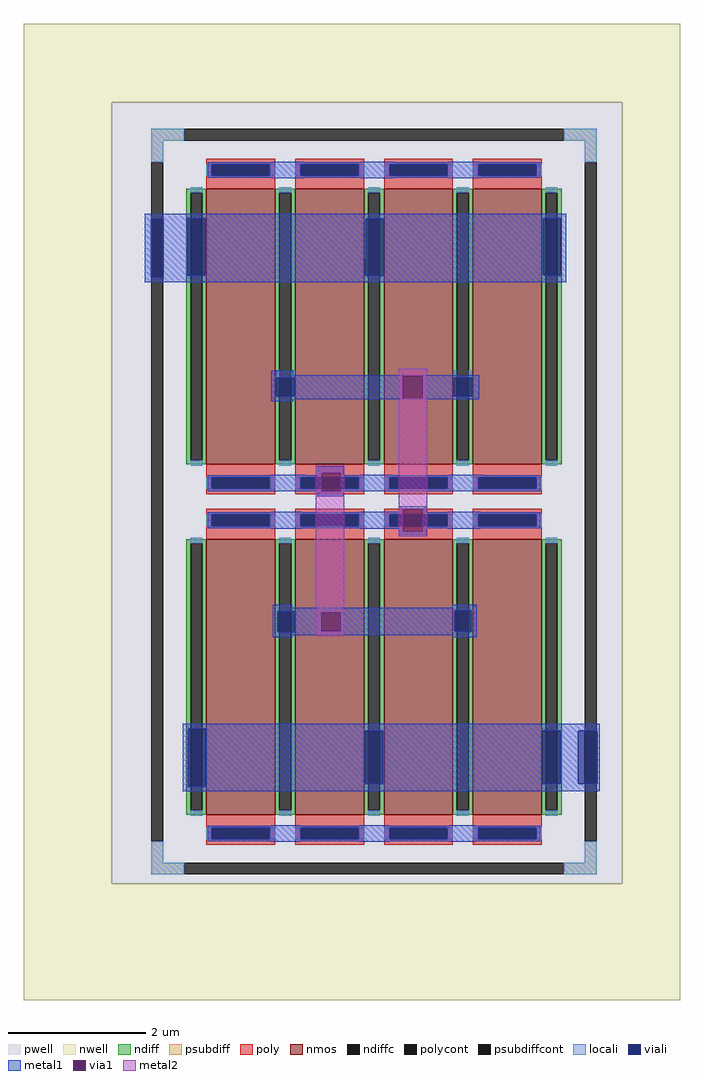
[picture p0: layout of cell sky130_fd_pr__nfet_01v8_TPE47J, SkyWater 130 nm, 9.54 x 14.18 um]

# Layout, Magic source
magic
tech sky130A
magscale 1 2
<< nwell >>
rect -1018 1160 890 1388
rect -1018 -1110 -762 1160
rect 722 -1110 890 1160
rect -1018 -1448 890 -1110
<< pwell >>
rect -762 -1110 722 1160
<< nmos >>
rect -487 109 -287 909
rect -229 109 -29 909
rect 29 109 229 909
rect 287 109 487 909
rect -487 -909 -287 -109
rect -229 -909 -29 -109
rect 29 -909 229 -109
rect 287 -909 487 -109
<< ndiff >>
rect -545 897 -487 909
rect -545 121 -533 897
rect -499 121 -487 897
rect -545 109 -487 121
rect -287 897 -229 909
rect -287 121 -275 897
rect -241 121 -229 897
rect -287 109 -229 121
rect -29 897 29 909
rect -29 121 -17 897
rect 17 121 29 897
rect -29 109 29 121
rect 229 897 287 909
rect 229 121 241 897
rect 275 121 287 897
rect 229 109 287 121
rect 487 897 545 909
rect 487 121 499 897
rect 533 121 545 897
rect 487 109 545 121
rect -545 -121 -487 -109
rect -545 -897 -533 -121
rect -499 -897 -487 -121
rect -545 -909 -487 -897
rect -287 -121 -229 -109
rect -287 -897 -275 -121
rect -241 -897 -229 -121
rect -287 -909 -229 -897
rect -29 -121 29 -109
rect -29 -897 -17 -121
rect 17 -897 29 -121
rect -29 -909 29 -897
rect 229 -121 287 -109
rect 229 -897 241 -121
rect 275 -897 287 -121
rect 229 -909 287 -897
rect 487 -121 545 -109
rect 487 -897 499 -121
rect 533 -897 545 -121
rect 487 -909 545 -897
<< ndiffc >>
rect -533 121 -499 897
rect -275 121 -241 897
rect -17 121 17 897
rect 241 121 275 897
rect 499 121 533 897
rect -533 -897 -499 -121
rect -275 -897 -241 -121
rect -17 -897 17 -121
rect 241 -897 275 -121
rect 499 -897 533 -121
<< psubdiff >>
rect -647 1049 -551 1083
rect 551 1049 647 1083
rect -647 987 -613 1049
rect 613 987 647 1049
rect -647 -1049 -613 -987
rect 613 -1049 647 -987
rect -647 -1083 -551 -1049
rect 551 -1083 647 -1049
<< psubdiffcont >>
rect -551 1049 551 1083
rect -647 -987 -613 987
rect 613 -987 647 987
rect -551 -1083 551 -1049
<< poly >>
rect -487 981 -287 997
rect -487 947 -471 981
rect -303 947 -287 981
rect -487 909 -287 947
rect -229 981 -29 997
rect -229 947 -213 981
rect -45 947 -29 981
rect -229 909 -29 947
rect 29 981 229 997
rect 29 947 45 981
rect 213 947 229 981
rect 29 909 229 947
rect 287 981 487 997
rect 287 947 303 981
rect 471 947 487 981
rect 287 909 487 947
rect -487 71 -287 109
rect -487 37 -471 71
rect -303 37 -287 71
rect -487 21 -287 37
rect -229 71 -29 109
rect -229 37 -213 71
rect -45 37 -29 71
rect -229 21 -29 37
rect 29 71 229 109
rect 29 37 45 71
rect 213 37 229 71
rect 29 21 229 37
rect 287 71 487 109
rect 287 37 303 71
rect 471 37 487 71
rect 287 21 487 37
rect -487 -37 -287 -21
rect -487 -71 -471 -37
rect -303 -71 -287 -37
rect -487 -109 -287 -71
rect -229 -37 -29 -21
rect -229 -71 -213 -37
rect -45 -71 -29 -37
rect -229 -109 -29 -71
rect 29 -37 229 -21
rect 29 -71 45 -37
rect 213 -71 229 -37
rect 29 -109 229 -71
rect 287 -37 487 -21
rect 287 -71 303 -37
rect 471 -71 487 -37
rect 287 -109 487 -71
rect -487 -947 -287 -909
rect -487 -981 -471 -947
rect -303 -981 -287 -947
rect -487 -997 -287 -981
rect -229 -947 -29 -909
rect -229 -981 -213 -947
rect -45 -981 -29 -947
rect -229 -997 -29 -981
rect 29 -947 229 -909
rect 29 -981 45 -947
rect 213 -981 229 -947
rect 29 -997 229 -981
rect 287 -947 487 -909
rect 287 -981 303 -947
rect 471 -981 487 -947
rect 287 -997 487 -981
<< polycont >>
rect -471 947 -303 981
rect -213 947 -45 981
rect 45 947 213 981
rect 303 947 471 981
rect -471 37 -303 71
rect -213 37 -45 71
rect 45 37 213 71
rect 303 37 471 71
rect -471 -71 -303 -37
rect -213 -71 -45 -37
rect 45 -71 213 -37
rect 303 -71 471 -37
rect -471 -981 -303 -947
rect -213 -981 -45 -947
rect 45 -981 213 -947
rect 303 -981 471 -947
<< locali >>
rect -647 1049 -551 1083
rect 551 1049 647 1083
rect -647 987 -613 1049
rect 613 987 647 1049
rect -487 947 -471 981
rect -303 947 -287 981
rect -229 947 -213 981
rect -45 947 -29 981
rect 29 947 45 981
rect 213 947 229 981
rect 287 947 303 981
rect 471 947 487 981
rect -533 897 -499 913
rect -275 897 -241 913
rect -284 360 -275 382
rect -17 897 17 913
rect 241 897 275 913
rect -241 360 -230 382
rect -232 334 -230 360
rect -533 105 -499 121
rect -275 105 -241 121
rect 230 360 241 382
rect 499 897 533 913
rect 275 360 284 382
rect 230 334 232 360
rect -17 105 17 121
rect 241 105 275 121
rect 499 105 533 121
rect -487 37 -471 71
rect -303 37 -287 71
rect -229 37 -213 71
rect -45 37 -29 71
rect 29 37 45 71
rect 213 37 229 71
rect 287 37 303 71
rect 471 37 487 71
rect -487 -71 -471 -37
rect -303 -71 -287 -37
rect -229 -71 -213 -37
rect -45 -71 -29 -37
rect 29 -71 45 -37
rect 213 -71 229 -37
rect 287 -71 303 -37
rect 471 -71 487 -37
rect -533 -121 -499 -105
rect -275 -121 -241 -105
rect -17 -121 17 -105
rect -533 -913 -499 -897
rect 241 -121 275 -105
rect 499 -121 533 -105
rect -275 -913 -241 -897
rect -17 -913 17 -897
rect 241 -913 275 -897
rect 499 -913 533 -897
rect -487 -981 -471 -947
rect -303 -981 -287 -947
rect -229 -981 -213 -947
rect -45 -981 -29 -947
rect 29 -981 45 -947
rect 213 -981 229 -947
rect 287 -981 303 -947
rect 471 -981 487 -947
rect -647 -1049 -613 -987
rect 613 -1049 647 -987
rect -647 -1083 -551 -1049
rect 551 -1083 647 -1049
<< viali >>
rect -471 947 -303 981
rect -213 947 -45 981
rect 45 947 213 981
rect 303 947 471 981
rect -648 652 -647 822
rect -647 652 -613 822
rect -613 652 -612 822
rect -542 658 -533 824
rect -533 658 -499 824
rect -499 658 -490 824
rect -24 706 -17 822
rect -26 658 -17 706
rect -24 656 -17 658
rect -17 656 17 822
rect 17 656 28 822
rect -284 306 -275 360
rect -275 306 -241 360
rect -241 306 -232 360
rect 492 658 499 824
rect 499 658 533 824
rect 533 658 544 824
rect 232 306 241 360
rect 241 306 275 360
rect 275 306 284 360
rect -471 37 -303 71
rect -213 37 -45 71
rect 45 37 213 71
rect 303 37 471 71
rect -471 -71 -303 -37
rect -213 -71 -45 -37
rect 45 -71 213 -37
rect 303 -71 471 -37
rect -280 -380 -275 -318
rect -275 -380 -241 -318
rect -241 -380 -232 -318
rect -540 -828 -533 -660
rect -533 -828 -499 -660
rect -499 -828 -488 -660
rect 234 -378 241 -316
rect 241 -378 275 -316
rect 275 -378 282 -316
rect -26 -820 -17 -666
rect -17 -820 17 -666
rect 17 -820 26 -666
rect 488 -820 499 -666
rect 499 -820 533 -666
rect 533 -820 542 -666
rect 594 -820 613 -666
rect 613 -820 647 -666
rect 647 -820 648 -666
rect -471 -981 -303 -947
rect -213 -981 -45 -947
rect 45 -981 213 -947
rect 303 -981 471 -947
<< metal1 >>
rect -296 987 -206 988
rect -38 987 58 988
rect 216 987 310 988
rect -483 981 483 987
rect -483 947 -471 981
rect -303 947 -213 981
rect -45 947 45 981
rect 213 947 303 981
rect 471 947 483 981
rect -483 941 483 947
rect -296 940 -206 941
rect -38 940 58 941
rect 216 940 310 941
rect -666 824 558 836
rect -666 822 -542 824
rect -666 652 -648 822
rect -612 658 -542 822
rect -490 822 492 824
rect -490 706 -24 822
rect -490 658 -26 706
rect 28 658 492 822
rect 544 658 558 824
rect -612 656 -24 658
rect 28 656 558 658
rect -612 652 558 656
rect -666 638 558 652
rect -298 368 -234 380
rect -298 366 306 368
rect -298 360 84 366
rect -298 306 -284 360
rect -232 306 84 360
rect -298 300 84 306
rect 142 360 306 366
rect 142 306 232 360
rect 284 306 306 360
rect 142 300 306 306
rect -298 298 306 300
rect -298 292 -234 298
rect -164 84 -88 102
rect -300 77 -198 78
rect -164 77 -154 84
rect -483 71 -154 77
rect -96 77 -88 84
rect -38 77 54 78
rect 218 77 318 78
rect -96 71 483 77
rect -483 37 -471 71
rect -303 37 -213 71
rect -45 37 45 71
rect 213 37 303 71
rect 471 37 483 71
rect -483 31 -154 37
rect -300 30 -198 31
rect -164 30 -154 31
rect -96 31 483 37
rect -96 30 -88 31
rect -38 30 54 31
rect 218 30 318 31
rect -164 16 -88 30
rect 72 -22 152 -14
rect 72 -30 84 -22
rect -298 -31 -210 -30
rect -42 -31 84 -30
rect -483 -37 84 -31
rect 142 -31 152 -22
rect 214 -31 308 -30
rect 142 -37 483 -31
rect -483 -71 -471 -37
rect -303 -71 -213 -37
rect -45 -71 45 -37
rect 213 -71 303 -37
rect 471 -71 483 -37
rect -483 -77 84 -71
rect -298 -78 -210 -77
rect -42 -78 84 -77
rect 72 -88 84 -78
rect 142 -77 483 -71
rect 142 -88 152 -77
rect 214 -78 308 -77
rect 72 -96 152 -88
rect -294 -308 -238 -300
rect 228 -308 298 -300
rect -294 -316 298 -308
rect -294 -318 234 -316
rect -294 -380 -280 -318
rect -232 -322 234 -318
rect -232 -376 -154 -322
rect -96 -376 234 -322
rect -232 -378 234 -376
rect 282 -378 298 -316
rect -232 -380 298 -378
rect -294 -388 298 -380
rect -294 -394 -238 -388
rect 228 -394 298 -388
rect -556 -660 656 -646
rect -556 -828 -540 -660
rect -488 -666 656 -660
rect -488 -820 -26 -666
rect 26 -820 488 -666
rect 542 -820 594 -666
rect 648 -820 656 -666
rect -488 -828 656 -820
rect -556 -842 656 -828
rect -298 -941 -214 -940
rect -42 -941 44 -940
rect 218 -941 296 -940
rect -483 -947 483 -941
rect -483 -981 -471 -947
rect -303 -981 -213 -947
rect -45 -981 45 -947
rect 213 -981 303 -947
rect 471 -981 483 -947
rect -483 -987 483 -981
rect -298 -988 -214 -987
rect -42 -988 44 -987
rect 218 -988 296 -987
<< via1 >>
rect 84 300 142 366
rect -154 71 -96 84
rect -154 37 -96 71
rect -154 30 -96 37
rect 84 -37 142 -22
rect 84 -71 142 -37
rect 84 -88 142 -71
rect -154 -376 -96 -322
<< metal2 >>
rect 72 366 154 386
rect 72 300 84 366
rect 142 300 154 366
rect -170 84 -86 104
rect -170 30 -154 84
rect -96 30 -86 84
rect -170 -322 -86 30
rect 72 -22 154 300
rect 72 -88 84 -22
rect 142 -88 154 -22
rect 72 -100 154 -88
rect -170 -376 -154 -322
rect -96 -376 -86 -322
rect -170 -390 -86 -376
<< properties >>
string FIXED_BBOX -630 -1066 630 1066
string gencell sky130_fd_pr__nfet_01v8
string library sky130
string parameters w 4 l 1 m 2 nf 4 diffcov 100 polycov 100 guard 1 glc 1 grc 1 gtc 1 gbc 1 tbcov 100 rlcov 100 topc 1 botc 1 poverlap 0 doverlap 1 lmin 0.15 wmin 0.42 compatible {sky130_fd_pr__nfet_01v8 sky130_fd_pr__nfet_01v8_lvt  sky130_fd_bs_flash__special_sonosfet_star  sky130_fd_pr__nfet_g5v0d10v5 sky130_fd_pr__nfet_05v0_nvt  sky130_fd_pr__nfet_03v3_nvt} full_metal 1 viasrc 100 viadrn 100 viagate 100 viagb 0 viagr 0 viagl 0 viagt 0
<< end >>
